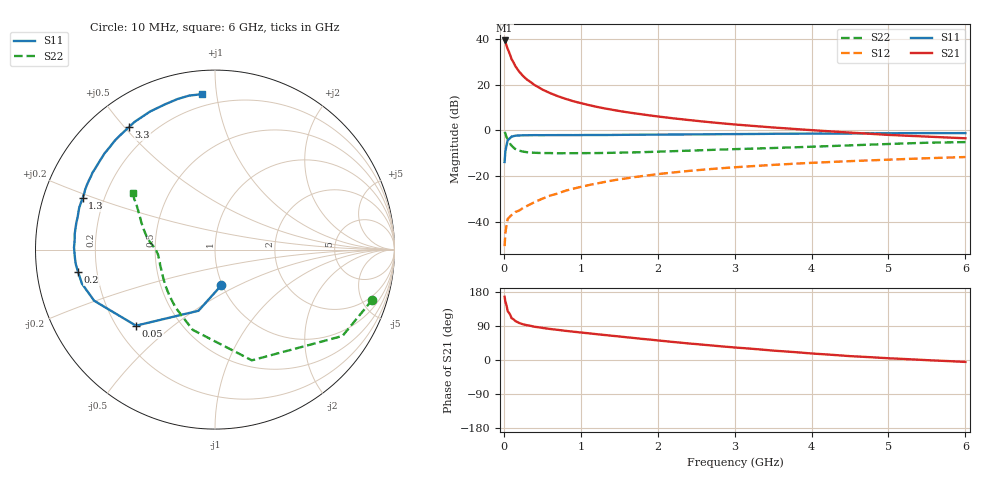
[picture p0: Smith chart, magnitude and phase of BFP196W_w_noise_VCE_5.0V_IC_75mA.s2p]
! (c) 2017  Infineon Technologies AG, Munich
! Infineon Technologies  Discrete & RF Semiconductors
! BFP196W
! VCE =  5.0 V,  IC =  75 mA
! Common Emitter S-Parameters:  Jan 2017
# GHz  S  MA  R  50
!  f  S11  S21  S12  S22
! GHz  MAG  ANG  MAG  ANG  MAG  ANG  MAG  ANG
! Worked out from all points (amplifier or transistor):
!   77 points, 10 MHz to 6 GHz, reference 50 ohm
!   highest |S21| = 39.4 dB at 10 MHz (marker M1)
!   |S21| within 3 dB of that: start of sweep to 42.51 MHz
!   unconditionally stable (mu >= 1): 580.3 MHz to 3.238 GHz
!   at 130 MHz: K = 0.52, MSG = 32.9 dB, |S12| = -36.3 dB
!   at 2.2 GHz: K = 1.04, MAG = 10.7 dB, |S12| = -18.5 dB
!   at 6 GHz: K = 0.94, MSG = 4.1 dB, |S12| = -11.7 dB
!   lowest NFmin = 1.62 dB at 450 MHz
!   S11 on the Smith chart (normalised r, x): 10 MHz: 0.99, -0.41; 50 MHz: 0.28, -0.38; 200 MHz: 0.13, -0.08; 1.3 GHz: 0.12, +0.18; 3.3 GHz: 0.11, +0.52; 6 GHz: 0.13, +0.91
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0.01  0.2029 -80.3  93.29 166.9  0.0029 81.1  0.9204 -17.6
0.02  0.3531 -105.1  86.38 154.0  0.0056 66.5  0.858 -34.1
0.05  0.6112 -136.1  60.99 128.8  0.0114 48.4  0.6503 -71.6
0.1  0.7313 -157.1  36.51 110.6  0.0139 43.9  0.4643 -105.4
0.15  0.7652 -165.6  25.4 102.7  0.0163 46.0  0.3905 -124.3
0.2  0.7733 -170.8  19.28 97.7  0.0175 49.7  0.3593 -135.4
0.25  0.7802 -174.2  15.53 94.2  0.02 51.5  0.3422 -143.5
0.3  0.7818 -176.8  12.98 91.8  0.022 54.6  0.3324 -148.9
0.4  0.7856 179.2  9.811 87.7  0.0267 58.6  0.3229 -156.3
0.5  0.7837 176.1  7.851 84.7  0.0318 61.5  0.3184 -161.1
0.6  0.7864 173.6  6.566 81.9  0.0371 62.6  0.3177 -164.5
0.7  0.7863 171.4  5.622 79.6  0.0413 64.8  0.3153 -167.0
0.9  0.7862 166.7  4.367 74.8  0.0526 65.7  0.3161 -170.6
1.1  0.7918 162.8  3.597 70.5  0.063 65.9  0.3173 -173.2
1.3  0.7913 158.8  3.049 66.2  0.0734 64.6  0.3196 -175.5
1.6  0.7993 153.3  2.498 59.9  0.0893 62.8  0.3265 -178.6
2.1  0.8077 144.1  1.925 49.7  0.1146 58.8  0.3452 176.8
3.1  0.8294 128.0  1.305 31.6  0.1591 49.3  0.3921 168.2
3.3  0.8342 125.0  1.228 28.4  0.1671 47.6  0.4011 166.4
4.1  0.8505 114.0  0.986 15.9  0.1976 40.5  0.4437 158.6
5.1  0.8651 103.1  0.782 3.7  0.2312 32.4  0.5091 149.8
6  0.869 94.8  0.67 -5.1  0.2604 25.2  0.5533 145.3
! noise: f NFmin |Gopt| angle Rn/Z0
0.45  1.62  0.56  -175  0.06
0.9  1.75  0.59  -169  0.07
1.9  2.61  0.7  -148  0.19
2.4  3.01  0.74  -143  0.31
